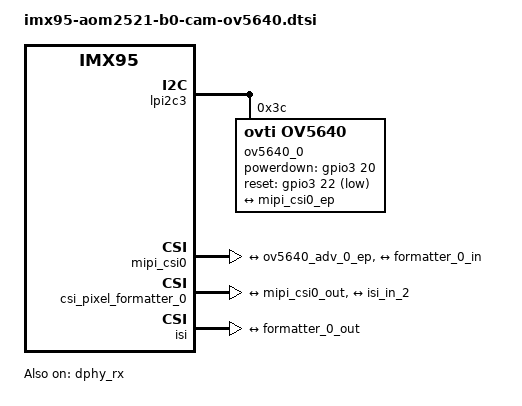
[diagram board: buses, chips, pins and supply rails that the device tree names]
&lpi2c3 {
	ov5640_0: ov5640_adv@3c {
		//compatible = "ovti,ov5640_adv";
		compatible = "ovti,ov5640";
		reg = <0x3c>;
		pinctrl-names = "default";
		pinctrl-0 = <&pinctrl_csi1_pwn>, <&pinctrl_csi1_rst>, <&pinctrl_csi_mclk>;
		clocks = <&scmi_clk IMX95_CLK_CCMCKO1>;
		clock-names = "xclk";
		assigned-clocks = <&scmi_clk IMX95_CLK_CCMCKO1>;
		assigned-clock-parents = <&scmi_clk IMX95_CLK_24M>;
		assigned-clock-rates = <24000000>;
		csi_id = <0>;
		powerdown-gpios = <&gpio3 20 GPIO_ACTIVE_HIGH>;
		reset-gpios = <&gpio3 22 GPIO_ACTIVE_LOW>;
		mclk = <24000000>;
		mclk_source = <0>;
		mipi_csi;
		pm-runtime;
		status = "okay";

		port {
			ov5640_adv_0_ep: endpoint {
				remote-endpoint = <&mipi_csi0_ep>;
				data-lanes = <1 2>;
				clock-lanes = <0>;
			};
		};
	};
};

&dphy_rx {
	status = "okay";
};

&mipi_csi0 {
	status = "okay";

	ports {
		#address-cells = <1>;
		#size-cells = <0>;

		port@0 {
			reg = <0>;
			mipi_csi0_ep: endpoint {
				remote-endpoint = <&ov5640_adv_0_ep>;
				data-lanes = <1 2>;
				clock-lanes = <0>;
			};
		};

		port@1 {
			reg = <1>;
			mipi_csi0_out: endpoint {
				remote-endpoint = <&formatter_0_in>;
			};
		};
	};
};

&csi_pixel_formatter_0 {
	status = "okay";

	ports {
		#address-cells = <1>;
		#size-cells = <0>;

		port@0 {
			reg = <0>;

			formatter_0_in: endpoint {
				remote-endpoint = <&mipi_csi0_out>;
			};
		};

		port@1 {
			reg = <1>;

			formatter_0_out: endpoint {
				remote-endpoint = <&isi_in_2>;
			};
		};
	};
};

&isi {
	status = "okay";

	ports {
		#address-cells = <1>;
		#size-cells = <0>;

		port@2 {
			reg = <2>;

			isi_in_2: endpoint {
				remote-endpoint = <&formatter_0_out>;
			};
		};
	};
};

&scmi_iomuxc {
	pinctrl_csi_mclk: csi_mclk_grp {
		fsl,pins = <
			IMX95_PAD_CCM_CLKO1__CCMSRCGPCMIX_TOP_CLKO_1		0x39e
		>;
	};

	pinctrl_csi1_pwn: csi1_pwn_grp {
		fsl,pins = <
			IMX95_PAD_SD3_CLK__GPIO3_IO_BIT20			0x31e
		>;
	};

	pinctrl_csi1_rst: csi1_rst_grp {
		fsl,pins = <
			IMX95_PAD_SD3_DATA0__GPIO3_IO_BIT22			0x31e
		>;
	};
};
